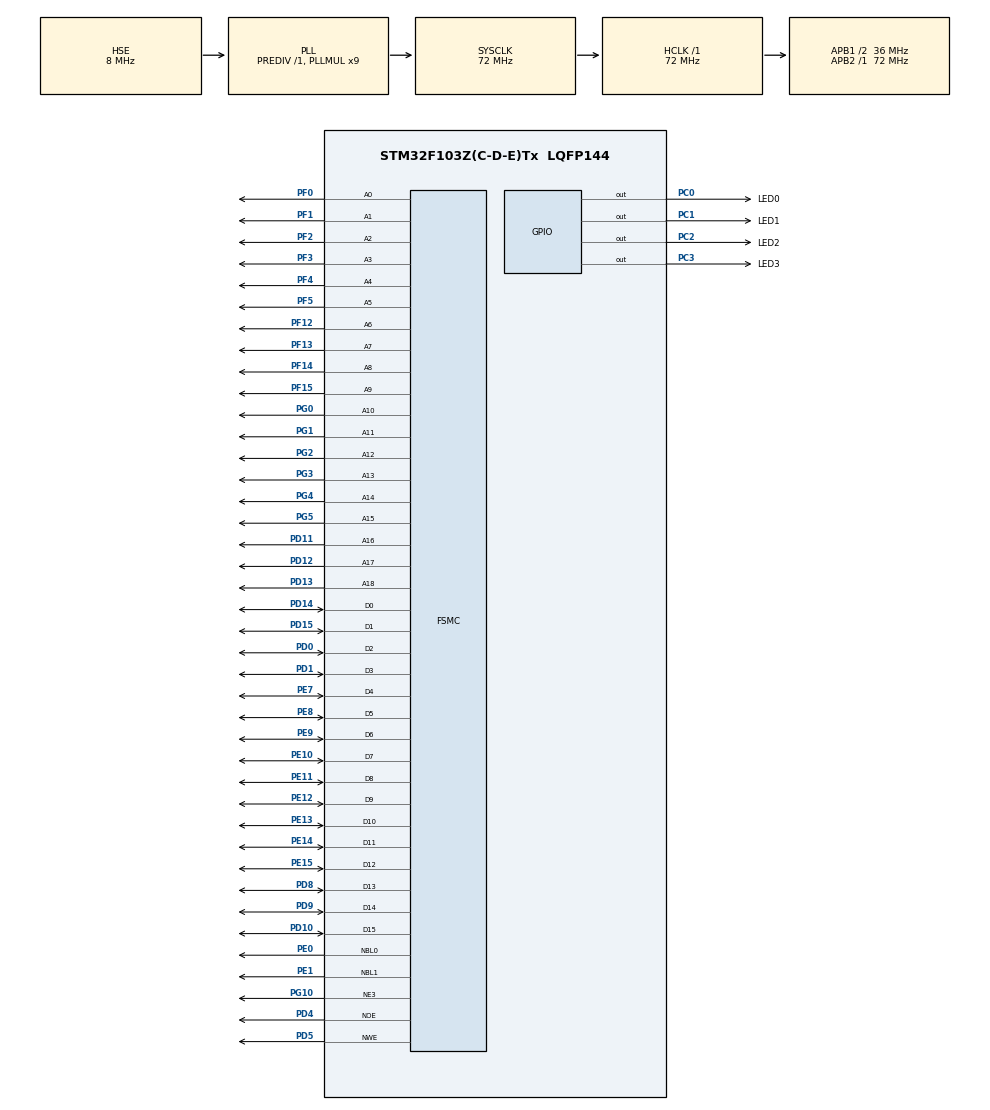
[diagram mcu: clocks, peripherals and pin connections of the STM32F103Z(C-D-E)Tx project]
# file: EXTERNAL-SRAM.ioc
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FSMC.AddressSetupTime1=0
FSMC.BusTurnAroundDuration1=0
FSMC.DataSetupTime1=3
FSMC.ExtendedMode1=FSMC_EXTENDED_MODE_DISABLE
FSMC.WriteOperation1=FSMC_WRITE_OPERATION_ENABLE
Mcu.Family=STM32F1
Mcu.Name=STM32F103Z(C-D-E)Tx
Mcu.Package=LQFP144
NVIC.PriorityGroup=NVIC_PRIORITYGROUP_4
OSC_IN.Mode=HSE-External-Oscillator
OSC_IN.Signal=RCC_OSC_IN
OSC_OUT.Mode=HSE-External-Oscillator
OSC_OUT.Signal=RCC_OSC_OUT
PA13.Mode=Serial_Wire
PA13.Signal=SYS_JTMS-SWDIO
PA14.Mode=Serial_Wire
PA14.Signal=SYS_JTCK-SWCLK
PC0.GPIO_Label=LED0
PC0.GPIO_ModeDefaultOutputPP=GPIO_MODE_OUTPUT_PP
PC0.GPIO_PuPd=GPIO_NOPULL
PC0.GPIO_Speed=GPIO_SPEED_FREQ_LOW
PC0.PinState=GPIO_PIN_SET
PC0.Signal=GPIO_Output
PC1.GPIO_Label=LED1
PC1.GPIO_ModeDefaultOutputPP=GPIO_MODE_OUTPUT_PP
PC1.GPIO_PuPd=GPIO_NOPULL
PC1.GPIO_Speed=GPIO_SPEED_FREQ_LOW
PC1.PinState=GPIO_PIN_SET
PC1.Signal=GPIO_Output
PC2.GPIO_Label=LED2
PC2.GPIO_ModeDefaultOutputPP=GPIO_MODE_OUTPUT_PP
PC2.GPIO_PuPd=GPIO_NOPULL
PC2.GPIO_Speed=GPIO_SPEED_FREQ_LOW
PC2.PinState=GPIO_PIN_SET
PC2.Signal=GPIO_Output
PC3.GPIO_Label=LED3
PC3.GPIO_ModeDefaultOutputPP=GPIO_MODE_OUTPUT_PP
PC3.GPIO_PuPd=GPIO_NOPULL
PC3.GPIO_Speed=GPIO_SPEED_FREQ_LOW
PC3.PinState=GPIO_PIN_SET
PC3.Signal=GPIO_Output
PD0.Signal=FSMC_D2_DA2
PD1.Signal=FSMC_D3_DA3
PD10.Signal=FSMC_D15_DA15
PD11.Signal=FSMC_A16_CLE
PD12.Signal=FSMC_A17_ALE
PD13.Signal=FSMC_A18
PD14.Signal=FSMC_D0_DA0
PD15.Signal=FSMC_D1_DA1
PD4.Signal=FSMC_NOE
PD5.Signal=FSMC_NWE
PD8.Signal=FSMC_D13_DA13
PD9.Signal=FSMC_D14_DA14
PE0.Signal=FSMC_NBL0
PE1.Signal=FSMC_NBL1
PE10.Signal=FSMC_D7_DA7
PE11.Signal=FSMC_D8_DA8
PE12.Signal=FSMC_D9_DA9
PE13.Signal=FSMC_D10_DA10
PE14.Signal=FSMC_D11_DA11
PE15.Signal=FSMC_D12_DA12
PE7.Signal=FSMC_D4_DA4
PE8.Signal=FSMC_D5_DA5
PE9.Signal=FSMC_D6_DA6
PF0.Signal=FSMC_A0
PF1.Signal=FSMC_A1
PF12.Signal=FSMC_A6
PF13.Signal=FSMC_A7
PF14.Signal=FSMC_A8
PF15.Signal=FSMC_A9
PF2.Signal=FSMC_A2
PF3.Signal=FSMC_A3
PF4.Signal=FSMC_A4
PF5.Signal=FSMC_A5
PG0.Signal=FSMC_A10
PG1.Signal=FSMC_A11
PG10.Mode=NorPsramChipSelect3_1
PG10.Signal=FSMC_NE3
PG2.Signal=FSMC_A12
PG3.Signal=FSMC_A13
PG4.Signal=FSMC_A14
PG5.Signal=FSMC_A15
ProjectManager.HeapSize=0x200
ProjectManager.StackSize=0x400
ProjectManager.TargetToolchain=MDK-ARM V5.27
RCC.AHBFreq_Value=72000000
RCC.APB1CLKDivider=RCC_HCLK_DIV2
RCC.APB1Freq_Value=36000000
RCC.APB1TimFreq_Value=72000000
RCC.APB2Freq_Value=72000000
RCC.APB2TimFreq_Value=72000000
RCC.HCLKFreq_Value=72000000
RCC.PLLMUL=RCC_PLL_MUL9
RCC.PLLSourceVirtual=RCC_PLLSOURCE_HSE
RCC.SYSCLKFreq_VALUE=72000000
RCC.SYSCLKSource=RCC_SYSCLKSOURCE_PLLCLK
RCC.USBFreq_Value=72000000
SH.FSMC_A0.0=FSMC_A0,19b-a1
SH.FSMC_A1.0=FSMC_A1,19b-a1
SH.FSMC_A10.0=FSMC_A10,19b-a1
SH.FSMC_A11.0=FSMC_A11,19b-a1
SH.FSMC_A12.0=FSMC_A12,19b-a1
SH.FSMC_A13.0=FSMC_A13,19b-a1
SH.FSMC_A14.0=FSMC_A14,19b-a1
SH.FSMC_A15.0=FSMC_A15,19b-a1
SH.FSMC_A16_CLE.0=FSMC_A16,19b-a1
SH.FSMC_A17_ALE.0=FSMC_A17,19b-a1
SH.FSMC_A18.0=FSMC_A18,19b-a1
SH.FSMC_A2.0=FSMC_A2,19b-a1
SH.FSMC_A3.0=FSMC_A3,19b-a1
SH.FSMC_A4.0=FSMC_A4,19b-a1
SH.FSMC_A5.0=FSMC_A5,19b-a1
SH.FSMC_A6.0=FSMC_A6,19b-a1
SH.FSMC_A7.0=FSMC_A7,19b-a1
SH.FSMC_A8.0=FSMC_A8,19b-a1
SH.FSMC_A9.0=FSMC_A9,19b-a1
SH.FSMC_D0_DA0.0=FSMC_D0,16b-d1
SH.FSMC_D10_DA10.0=FSMC_D10,16b-d1
SH.FSMC_D11_DA11.0=FSMC_D11,16b-d1
SH.FSMC_D12_DA12.0=FSMC_D12,16b-d1
SH.FSMC_D13_DA13.0=FSMC_D13,16b-d1
SH.FSMC_D14_DA14.0=FSMC_D14,16b-d1
SH.FSMC_D15_DA15.0=FSMC_D15,16b-d1
SH.FSMC_D1_DA1.0=FSMC_D1,16b-d1
SH.FSMC_D2_DA2.0=FSMC_D2,16b-d1
SH.FSMC_D3_DA3.0=FSMC_D3,16b-d1
SH.FSMC_D4_DA4.0=FSMC_D4,16b-d1
SH.FSMC_D5_DA5.0=FSMC_D5,16b-d1
SH.FSMC_D6_DA6.0=FSMC_D6,16b-d1
SH.FSMC_D7_DA7.0=FSMC_D7,16b-d1
SH.FSMC_D8_DA8.0=FSMC_D8,16b-d1
SH.FSMC_D9_DA9.0=FSMC_D9,16b-d1
SH.FSMC_NBL0.0=FSMC_NBL0,2ByteEnable1
SH.FSMC_NBL1.0=FSMC_NBL1,2ByteEnable1
SH.FSMC_NOE.0=FSMC_NOE,Sram1
SH.FSMC_NWE.0=FSMC_NWE,Sram1
board=custom

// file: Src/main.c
/* USER CODE BEGIN Header */
/**
  ******************************************************************************
  * @file           : main.c
  * @brief          : Main program body
  ******************************************************************************
  * @attention
  *
  * <h2><center>&copy; Copyright (c) 2020 STMicroelectronics.
  * All rights reserved.</center></h2>
  *
  * This software component is licensed by ST under BSD 3-Clause license,
  * the "License"; You may not use this file except in compliance with the
  * License. You may obtain a copy of the License at:
  *                        opensource.org/licenses/BSD-3-Clause
  *
  ******************************************************************************
  */
/* USER CODE END Header */

#include "main.h"
#include "gpio.h"
#include "fsmc.h"

/* USER CODE BEGIN Includes */
#include <stdio.h>
/* USER CODE END Includes */

/* USER CODE BEGIN PV */
uint8_t text_buf[]="www.prechin.net";
#define TEXT_LEN sizeof(text_buf)
/* USER CODE END PV */

void SystemClock_Config(void);

/* USER CODE BEGIN 0 */
int fputc(int ch, FILE *f)
{
	return ITM_SendChar(ch);
}

void ExSRAM_Cap_Test()
{
	uint8_t writeData = 0xf0, readData;
	uint16_t cap=0;
  uint32_t addr;

	addr = 1024; //从1KB位置开始算起

	while(1)
	{
		FSMC_SRAM_WriteBuffer(addr, &writeData, 1);
		FSMC_SRAM_ReadBuffer(addr, &readData, 1);

		/* 查看读取到的数据是否跟写入数据一样 */
        if(readData == writeData)
        {
            cap++;
            addr += 1024;
            readData = 0;
            if(addr > 1024 * 1024) //SRAM容量最大为1MB
            {
                break;
            }
        }
        else
        {
						printf("有数据不一致\r\n");
            break;
        }
	}

	printf("SRAM容量为：%dKB\r\n",cap);
}

/* USER CODE END 0 */

int main(void)
{

  /* MCU Configuration--------------------------------------------------------*/

  /* Reset of all peripherals, Initializes the Flash interface and the Systick. */
  HAL_Init();

  /* Configure the system clock */
  SystemClock_Config();

  /* Initialize all configured peripherals */
  MX_GPIO_Init();
  MX_FSMC_Init();
  /* USER CODE BEGIN 2 */
	uint8_t a=0x12;
	uint8_t buffer_a[]="hello world";
	uint8_t buffer_len=sizeof(buffer_a);
	FSMC_SRAM_WriteBuffer(0, &a, 1);
	FSMC_SRAM_WriteBuffer(100, buffer_a, buffer_len);

	uint8_t b=0;
	uint8_t buffer_b[buffer_len];
	FSMC_SRAM_ReadBuffer(0, &b, 1);
	FSMC_SRAM_ReadBuffer(100, buffer_b, buffer_len);
	printf("=====16==>a:0x%02x b:0x%02x\n",a,b);
	printf("==========>buffer_a:%s\n",buffer_a);
	printf("==========>buffer_b:%s\n",buffer_b);

	//ExSRAM_Cap_Test();

  /* USER CODE END 2 */

  /* Infinite loop */
  while (1)
  {

    /* USER CODE BEGIN 3 */
		//printf("%04x\n", cdef);

  }
  /* USER CODE END 3 */
}

void SystemClock_Config(void)
{
  RCC_OscInitTypeDef RCC_OscInitStruct = {0};
  RCC_ClkInitTypeDef RCC_ClkInitStruct = {0};

  /** Initializes the CPU, AHB and APB busses clocks
  */
  RCC_OscInitStruct.OscillatorType = RCC_OSCILLATORTYPE_HSE;
  RCC_OscInitStruct.HSEState = RCC_HSE_ON;
  RCC_OscInitStruct.HSEPredivValue = RCC_HSE_PREDIV_DIV1;
  RCC_OscInitStruct.HSIState = RCC_HSI_ON;
  RCC_OscInitStruct.PLL.PLLState = RCC_PLL_ON;
  RCC_OscInitStruct.PLL.PLLSource = RCC_PLLSOURCE_HSE;
  RCC_OscInitStruct.PLL.PLLMUL = RCC_PLL_MUL9;
  if (HAL_RCC_OscConfig(&RCC_OscInitStruct) != HAL_OK)
  {
    Error_Handler();
  }
  /** Initializes the CPU, AHB and APB busses clocks
  */
  RCC_ClkInitStruct.ClockType = RCC_CLOCKTYPE_HCLK|RCC_CLOCKTYPE_SYSCLK
                              |RCC_CLOCKTYPE_PCLK1|RCC_CLOCKTYPE_PCLK2;
  RCC_ClkInitStruct.SYSCLKSource = RCC_SYSCLKSOURCE_PLLCLK;
  RCC_ClkInitStruct.AHBCLKDivider = RCC_SYSCLK_DIV1;
  RCC_ClkInitStruct.APB1CLKDivider = RCC_HCLK_DIV2;
  RCC_ClkInitStruct.APB2CLKDivider = RCC_HCLK_DIV1;

  if (HAL_RCC_ClockConfig(&RCC_ClkInitStruct, FLASH_LATENCY_2) != HAL_OK)
  {
    Error_Handler();
  }
}

void Error_Handler(void)
{
}

/************************ (C) COPYRIGHT STMicroelectronics *****END OF FILE****/
